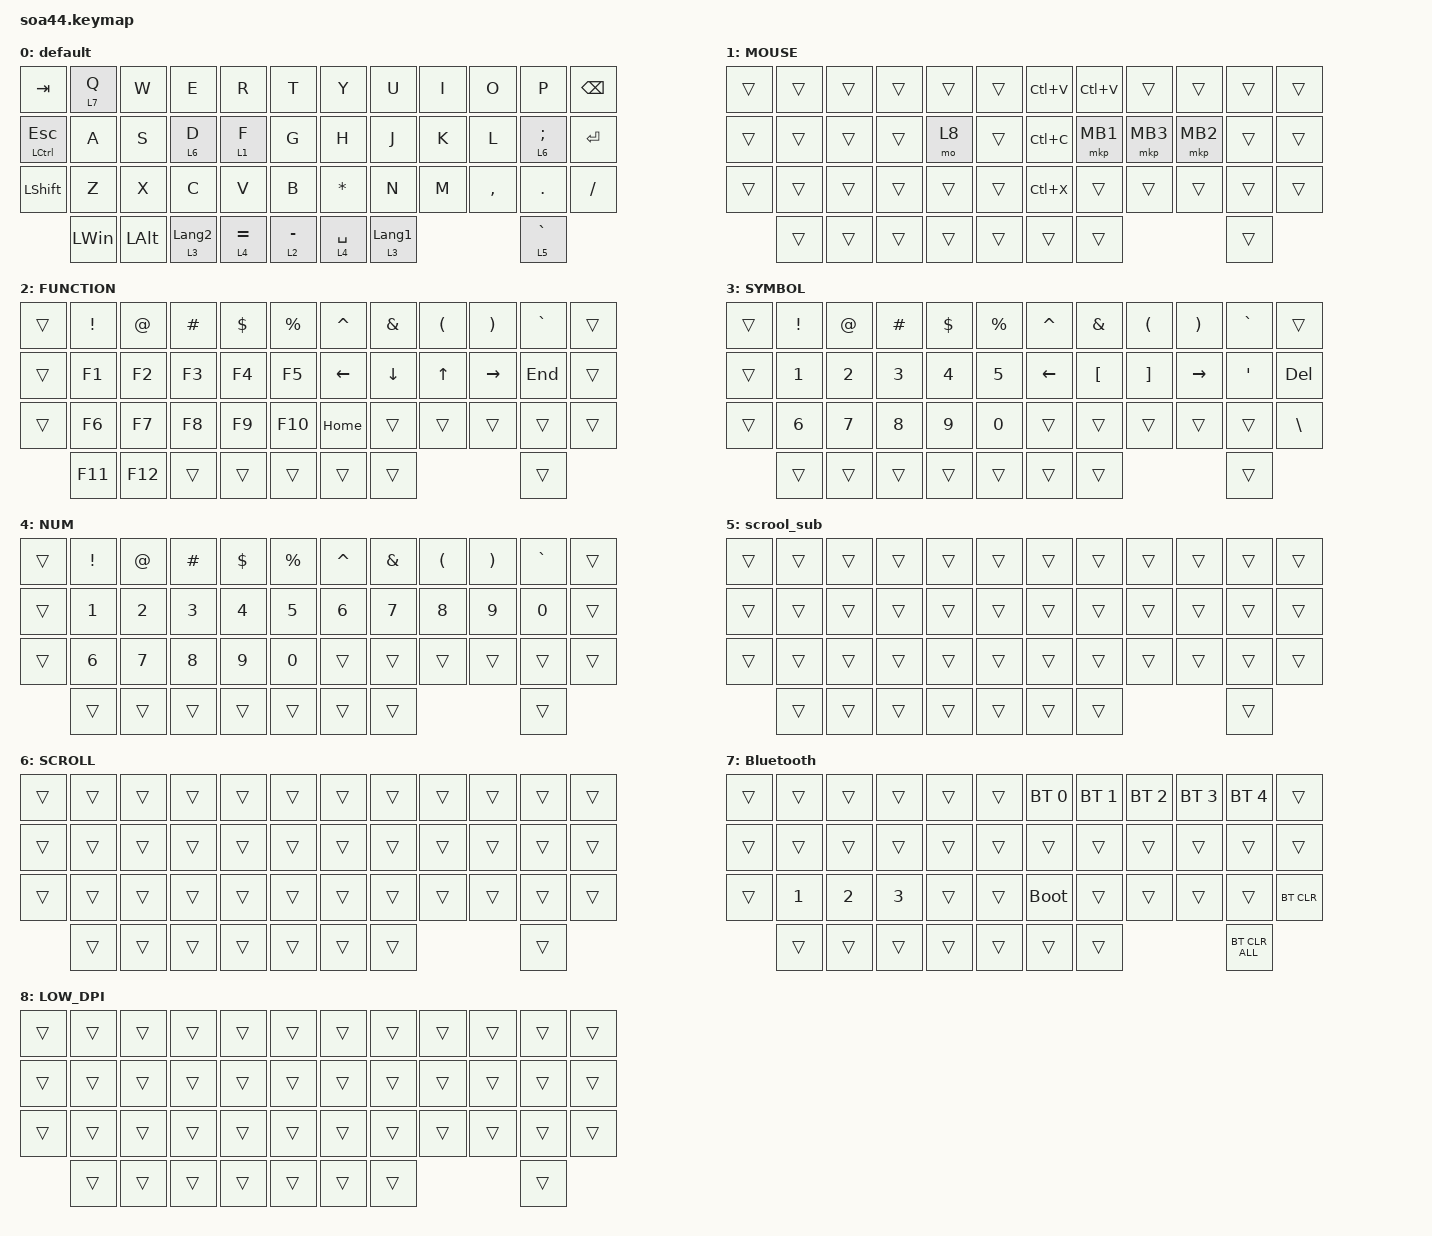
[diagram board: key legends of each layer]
#include <behaviors.dtsi>
#include <dt-bindings/zmk/bt.h>
#include <dt-bindings/zmk/keys.h>
#include <dt-bindings/zmk/pointing.h>

&mt {
    flavor = "balanced";
    quick-tap-ms = <0>;
};

/ {
    combos {
        compatible = "zmk,combos";

        LEFTCLICK {
            bindings = <&mkp MB1>;
            key-positions = <19 20>;
        };

        RIGHTCLICK {
            bindings = <&mkp MB2>;
            key-positions = <20 21>;
        };

        Free_scroll {
            bindings = <&mo 5>;
            key-positions = <16 15>;
        };
    };

    macros {
        to_layer_0: to_layer_0 {
            compatible = "zmk,behavior-macro-one-param";
            #binding-cells = <1>;
            bindings = <&to 0 &macro_param_1to1 &kp MACRO_PLACEHOLDER>;
            label = "TO_LAYER_0";
        };
    };

    behaviors {
        lt_to_layer_0: lt_to_layer_0 {
            compatible = "zmk,behavior-hold-tap";
            label = "LAYER_TAP_TO_0";
            bindings = <&mo>, <&to_layer_0>;

            #binding-cells = <2>;
            tapping-term-ms = <200>;
        };

        lt_bl: lt_bl {
            compatible = "zmk,behavior-hold-tap";
            label = "LAYER_TAP_BALANCED";
            #binding-cells = <2>;
            tapping-term-ms = <200>;
            flavor = "balanced";
            bindings = <&mo>, <&kp>;
        };
    };

    keymap {
        compatible = "zmk,keymap";

        default {
            bindings = <
&kp TAB           &lt 7 Q       &kp W         &kp E             &kp R        &kp T        &kp Y         &kp U             &kp I  &kp O      &kp P            &kp BACKSPACE
&mt LCTRL ESCAPE  &kp A         &kp S         &lt 6 D           &lt 1 F      &kp G        &kp H         &kp J             &kp K  &kp L      &lt 6 SEMICOLON  &kp ENTER
&kp LEFT_SHIFT    &kp Z         &kp X         &kp C             &kp V        &kp B        &kp ASTERISK  &kp N             &kp M  &kp COMMA  &kp DOT          &kp SLASH
                  &kp LEFT_WIN  &kp LEFT_ALT  &lt 3 LANGUAGE_2  &lt 4 EQUAL  &lt 2 MINUS  &lt 4 SPACE   &lt 3 LANGUAGE_1                    &lt 5 GRAVE
            >;
        };

        MOUSE {
            bindings = <
&trans  &trans  &trans  &trans  &trans  &trans  &kp LC(V)  &kp LC(V)  &trans    &trans    &trans  &trans
&trans  &trans  &trans  &trans  &mo 8   &trans  &kp LC(C)  &mkp MB1   &mkp MB3  &mkp MB2  &trans  &trans
&trans  &trans  &trans  &trans  &trans  &trans  &kp LC(X)  &trans     &trans    &trans    &trans  &trans
        &trans  &trans  &trans  &trans  &trans  &trans     &trans                         &trans
            >;
        };

        FUNCTION {
            bindings = <
&trans  &kp EXCLAMATION  &kp AT   &kp HASH  &kp DOLLAR  &kp PERCENT  &kp CARET  &kp AMPERSAND   &kp LEFT_PARENTHESIS  &kp RIGHT_PARENTHESIS  &kp GRAVE  &trans
&trans  &kp F1           &kp F2   &kp F3    &kp F4      &kp F5       &kp LEFT   &kp DOWN_ARROW  &kp UP_ARROW          &kp RIGHT              &kp END    &trans
&trans  &kp F6           &kp F7   &kp F8    &kp F9      &kp F10      &kp HOME   &trans          &trans                &trans                 &trans     &trans
        &kp F11          &kp F12  &trans    &trans      &trans       &trans     &trans                                                       &trans
            >;
        };

        SYMBOL {
            bindings = <
&trans  &kp EXCLAMATION  &kp AT_SIGN   &kp HASH      &kp DOLLAR    &kp PERCENT  &kp CARET       &kp AMPERSAND     &kp LEFT_PARENTHESIS  &kp RIGHT_PARENTHESIS  &kp GRAVE         &trans
&trans  &kp NUMBER_1     &kp NUMBER_2  &kp NUMBER_3  &kp NUMBER_4  &kp N5       &kp LEFT_ARROW  &kp LEFT_BRACKET  &kp RIGHT_BRACKET     &kp RIGHT              &kp SINGLE_QUOTE  &kp DEL
&trans  &kp NUMBER_6     &kp NUMBER_7  &kp N8        &kp NUMBER_9  &kp N0       &trans          &trans            &trans                &trans                 &trans            &kp BACKSLASH
        &trans           &trans        &trans        &trans        &trans       &trans          &trans                                                         &trans
            >;
        };

        NUM {
            bindings = <
&trans  &kp EXCLAMATION  &kp AT_SIGN   &kp HASH      &kp DOLLAR    &kp PERCENT   &kp CARET     &kp AMPERSAND  &kp LEFT_PARENTHESIS  &kp RIGHT_PARENTHESIS  &kp GRAVE  &trans
&trans  &kp NUMBER_1     &kp NUMBER_2  &kp NUMBER_3  &kp NUMBER_4  &kp NUMBER_5  &kp NUMBER_6  &kp N7         &kp N8                &kp N9                 &kp N0     &trans
&trans  &kp NUMBER_6     &kp N7        &kp N8        &kp NUMBER_9  &kp N0        &trans        &trans         &trans                &trans                 &trans     &trans
        &trans           &trans        &trans        &trans        &trans        &trans        &trans                                                      &trans
            >;
        };

        scrool_sub {
            bindings = <
&trans  &trans  &trans  &trans  &trans  &trans  &trans  &trans  &trans  &trans  &trans  &trans
&trans  &trans  &trans  &trans  &trans  &trans  &trans  &trans  &trans  &trans  &trans  &trans
&trans  &trans  &trans  &trans  &trans  &trans  &trans  &trans  &trans  &trans  &trans  &trans
        &trans  &trans  &trans  &trans  &trans  &trans  &trans                  &trans
            >;
        };

        SCROLL {
            bindings = <
&trans  &trans  &trans  &trans  &trans  &trans  &trans  &trans  &trans  &trans  &trans  &trans
&trans  &trans  &trans  &trans  &trans  &trans  &trans  &trans  &trans  &trans  &trans  &trans
&trans  &trans  &trans  &trans  &trans  &trans  &trans  &trans  &trans  &trans  &trans  &trans
        &trans  &trans  &trans  &trans  &trans  &trans  &trans                  &trans
            >;
        };

        Bluetooth {
            bindings = <
&trans  &trans        &trans        &trans        &trans  &trans  &bt BT_SEL 0  &bt BT_SEL 1  &bt BT_SEL 2  &bt BT_SEL 3  &bt BT_SEL 4    &trans
&trans  &trans        &trans        &trans        &trans  &trans  &trans        &trans        &trans        &trans        &trans          &trans
&trans  &kp NUMBER_1  &kp NUMBER_2  &kp NUMBER_3  &trans  &trans  &bootloader   &trans        &trans        &trans        &trans          &bt BT_CLR
        &trans        &trans        &trans        &trans  &trans  &trans        &trans                                    &bt BT_CLR_ALL
            >;
        };

        LOW_DPI {
            bindings = <
&trans  &trans  &trans  &trans  &trans  &trans  &trans  &trans  &trans  &trans  &trans  &trans
&trans  &trans  &trans  &trans  &trans  &trans  &trans  &trans  &trans  &trans  &trans  &trans
&trans  &trans  &trans  &trans  &trans  &trans  &trans  &trans  &trans  &trans  &trans  &trans
        &trans  &trans  &trans  &trans  &trans  &trans  &trans                  &trans
            >;
        };
    };
};
